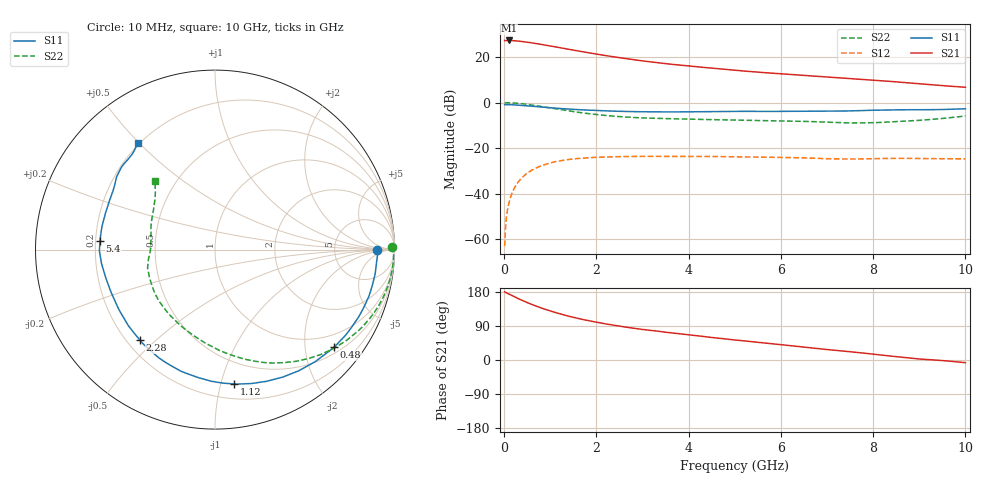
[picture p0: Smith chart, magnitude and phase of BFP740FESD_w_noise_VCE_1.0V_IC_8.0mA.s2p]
! Infineon Technologies  Discrete & RF Semiconductors
! BFP740FESD
! VCE =  1.0 V,  IC =  8.0 mA
! Common Emitter S-Parameters:  Jan 2016
# GHz  S  MA  R  50
!  f  S11  S21  S12  S22
! GHz  MAG  ANG  MAG  ANG  MAG  ANG  MAG  ANG
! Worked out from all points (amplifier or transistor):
!   233 points, 10 MHz to 10 GHz, reference 50 ohm
!   highest |S21| = 27.3 dB at 100 MHz (marker M1)
!   |S21| within 3 dB of that: start of sweep to 1.162 GHz
!   unconditionally stable (mu >= 1): 6.706 GHz to end of sweep
!   at 200 MHz: K = 0.04, MSG = 32.8 dB, |S12| = -38.4 dB
!   at 1.74 GHz: K = 0.26, MSG = 23.3 dB, |S12| = -24.3 dB
!   at 10 GHz: K = 1.43, MAG = 11.8 dB, |S12| = -24.7 dB
!   lowest NFmin = 0.56 dB at 450 MHz
!   S11 on the Smith chart (normalised r, x): 10 MHz: 20, -1; 480 MHz: 0.65, -2.67; 1.12 GHz: 0.32, -1.10; 2.28 GHz: 0.25, -0.45; 5.4 GHz: 0.22, +0.03; 10 GHz: 0.19, +0.50
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0.01  0.9043 -0.3  23.12 180.0  0.0007 40.3  0.9841 1.0
0.04  0.904 -3.4  23.16 177.7  0.0025 87.1  0.9954 -2.4
0.1  0.9026 -8.5  23.3 174.4  0.006 85.4  0.9945 -6.1
0.24  0.8908 -20.2  22.86 165.6  0.0143 78.1  0.9771 -14.7
0.34  0.8776 -28.4  22.4 160.1  0.0199 73.6  0.9575 -20.6
0.48  0.8569 -39.2  21.48 152.5  0.0272 67.5  0.9229 -28.5
0.6  0.8376 -48.2  20.64 146.4  0.0328 62.5  0.889 -34.9
0.8  0.8044 -62.0  19.11 137.5  0.041 54.8  0.8291 -44.9
0.92  0.7844 -69.8  18.23 132.5  0.045 50.6  0.7924 -50.4
1.12  0.7561 -81.8  16.79 125.0  0.0507 44.4  0.7333 -59.2
1.4  0.721 -96.7  14.89 115.5  0.0564 36.7  0.6587 -70.6
1.68  0.6951 -109.1  13.28 107.6  0.0602 30.6  0.5992 -80.3
1.96  0.6747 -119.4  11.86 100.7  0.0627 25.6  0.5537 -89.1
2.28  0.6552 -129.6  10.54 93.8  0.0644 20.8  0.5142 -98.2
2.8  0.635 -143.8  8.813 83.9  0.0656 14.6  0.4722 -111.2
3.4  0.6256 -155.6  7.397 74.9  0.0657 9.8  0.4493 -121.5
4.4  0.6344 -171.4  5.866 60.9  0.0657 4.1  0.4259 -135.5
5.1  0.6435 179.5  5.056 51.7  0.0645 0.8  0.4126 -144.9
5.4  0.6426 175.9  4.77 47.9  0.0638 -0.3  0.4069 -148.6
6.8  0.6455 157.2  3.776 30.2  0.0596 -4.2  0.3794 -169.2
8.4  0.6932 139.2  2.919 10.1  0.0596 -2.2  0.3787 160.3
10  0.7339 125.7  2.18 -7.0  0.058 -3.7  0.5092 131.0
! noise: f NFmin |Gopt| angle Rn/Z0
0.45  0.56  0.32  6  0.1
2.4  0.64  0.21  46  0.1
5.5  0.82  0.33  134  0.08
10  1.44  0.4  -138  0.12
